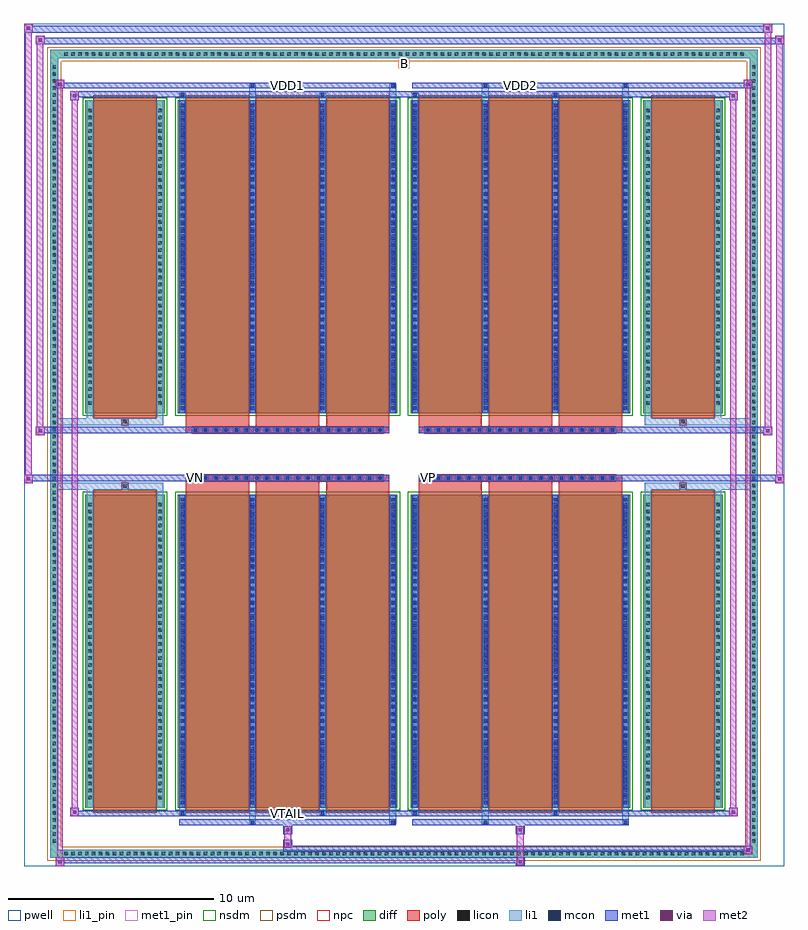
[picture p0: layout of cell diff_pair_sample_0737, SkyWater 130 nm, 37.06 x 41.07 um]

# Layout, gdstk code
import gdstk
lib = gdstk.Library(unit=1e-6, precision=5e-09)
def R(c, l, rs):  # rectangles x0, y0, x1, y1
    for r in rs: c.add(gdstk.rectangle(r[:2], r[2:], *l))
def A(c, l, x, y, w, h, nx, ny, dx, dy):  # array of equal rectangles
    R(c, l, [(x+i*dx, y+j*dy, x+i*dx+w, y+j*dy+h) for i in range(nx) for j in range(ny)])
def P(c, l, *ps):  # polygons
    for p in ps: c.add(gdstk.Polygon(p, *l))
pwell = (64, 44)
diff = (65, 20)
poly = (66, 20)
licon = (66, 44)
li1_pin = (67, 16)
li1 = (67, 20)
mcon = (67, 44)
met1_pin = (68, 16)
met1 = (68, 20)
via = (68, 44)
met2 = (69, 20)
nsdm = (93, 44)
psdm = (94, 20)
npc = (95, 20)

diff_pair_sample_0737 = lib.new_cell('diff_pair_sample_0737')
R(diff_pair_sample_0737, pwell, [(-18.53,-20.1,18.53,20.97), (-15.85,-18.29,-0.01,-0.805), (0.01,-18.29,15.85,-0.805), (-15.85,0.805,-0.01,18.29), (0.01,0.805,15.85,18.29)])
A(diff_pair_sample_0737, diff, -16.695, -19.7, 0.41, 0.41, 98, 2, 0.34, 38.99)
A(diff_pair_sample_0737, diff, -17.26, -19.075, 0.41, 0.41, 1, 112, 0, 0.34)
A(diff_pair_sample_0737, diff, 16.85, -19.075, 0.41, 0.41, 1, 112, 0, 0.34)
R(diff_pair_sample_0737, diff, [(-16.695,-19.7,16.695,-19.29), (-17.26,-19.075,-16.85,19.075), (16.85,-19.075,17.26,19.075), (-15.54,-17.245,-11.67,-1.985), (-11.03,-17.245,-0.32,-1.985), (0.32,-17.245,11.03,-1.985), (11.67,-17.245,15.54,-1.985), (-15.54,1.985,-11.67,17.245), (-11.03,1.985,-0.32,17.245), (0.32,1.985,11.03,17.245), (11.67,1.985,15.54,17.245), (-16.695,19.29,16.695,19.7)])
P(diff_pair_sample_0737, diff, [(17.26,19.7),(-17.26,19.7),(-17.26,-19.29),(-16.85,-19.29),(-16.85,19.29),(16.85,19.29),(16.85,-19.29),(-16.85,-19.29),(-17.26,-19.29),(-17.26,-19.7),(17.26,-19.7)])
A(diff_pair_sample_0737, poly, -10.64, -17.495, 3.09, 15.76, 3, 2, 3.42, 19.23)
A(diff_pair_sample_0737, poly, 0.71, -17.495, 3.09, 15.76, 3, 2, 3.42, 19.23)
A(diff_pair_sample_0737, poly, -10.64, -1.735, 3.09, 0.4, 3, 2, 3.42, 3.07)
A(diff_pair_sample_0737, poly, 0.71, -1.735, 3.09, 0.4, 3, 2, 3.42, 3.07)
A(diff_pair_sample_0737, poly, -10.34, -1.335, 0.33, 0.33, 19, 2, 0.5, 2.34)
A(diff_pair_sample_0737, poly, 1.01, -1.335, 0.33, 0.33, 19, 2, 0.5, 2.34)
R(diff_pair_sample_0737, poly, [(-15.15,-17.495,-12.06,-1.735), (12.06,-17.495,15.15,-1.735), (-13.77,-1.735,-13.44,-1.405), (-13.77,-1.735,-13.44,-1.405), (13.44,-1.735,13.77,-1.405), (13.44,-1.735,13.77,-1.405), (-10.64,-1.335,-0.71,-1.005), (0.71,-1.335,10.64,-1.005), (-10.64,1.005,-0.71,1.335), (0.71,1.005,10.64,1.335), (-13.77,1.405,-13.44,1.735), (-13.77,1.405,-13.44,1.735), (13.44,1.405,13.77,1.735), (13.44,1.405,13.77,1.735), (-15.15,1.735,-12.06,17.495), (12.06,1.735,15.15,17.495)])
A(diff_pair_sample_0737, licon, -16.575, -19.58, 0.17, 0.17, 98, 2, 0.34, 38.99)
A(diff_pair_sample_0737, licon, -17.14, -18.955, 0.17, 0.17, 1, 112, 0, 0.34)
A(diff_pair_sample_0737, licon, 16.97, -18.955, 0.17, 0.17, 1, 112, 0, 0.34)
A(diff_pair_sample_0737, licon, -15.4, -16.84, 0.17, 0.17, 1, 43, 0, 0.34)
A(diff_pair_sample_0737, licon, -11.98, -16.84, 0.17, 0.17, 1, 43, 0, 0.34)
A(diff_pair_sample_0737, licon, -10.89, -16.84, 0.17, 0.17, 4, 43, 3.42, 0.34)
A(diff_pair_sample_0737, licon, 0.46, -16.84, 0.17, 0.17, 4, 43, 3.42, 0.34)
A(diff_pair_sample_0737, licon, 11.81, -16.84, 0.17, 0.17, 1, 43, 0, 0.34)
A(diff_pair_sample_0737, licon, 15.23, -16.84, 0.17, 0.17, 1, 43, 0, 0.34)
A(diff_pair_sample_0737, licon, -10.26, -1.255, 0.17, 0.17, 19, 2, 0.5, 2.34)
A(diff_pair_sample_0737, licon, 1.09, -1.255, 0.17, 0.17, 19, 2, 0.5, 2.34)
A(diff_pair_sample_0737, licon, -15.4, 2.39, 0.17, 0.17, 1, 43, 0, 0.34)
A(diff_pair_sample_0737, licon, -11.98, 2.39, 0.17, 0.17, 1, 43, 0, 0.34)
A(diff_pair_sample_0737, licon, -10.89, 2.39, 0.17, 0.17, 4, 43, 3.42, 0.34)
A(diff_pair_sample_0737, licon, 0.46, 2.39, 0.17, 0.17, 4, 43, 3.42, 0.34)
A(diff_pair_sample_0737, licon, 11.81, 2.39, 0.17, 0.17, 1, 43, 0, 0.34)
A(diff_pair_sample_0737, licon, 15.23, 2.39, 0.17, 0.17, 1, 43, 0, 0.34)
R(diff_pair_sample_0737, licon, [(-13.69,-1.655,-13.52,-1.485), (13.52,-1.655,13.69,-1.485), (-13.69,1.485,-13.52,1.655), (13.52,1.485,13.69,1.655)])
R(diff_pair_sample_0737, li1_pin, [(-0.25,18.79,0.25,19.29)])
A(diff_pair_sample_0737, li1, -16.655, -19.66, 0.33, 0.33, 98, 2, 0.34, 38.99)
A(diff_pair_sample_0737, li1, -17.22, -19.035, 0.33, 0.33, 1, 112, 0, 0.34)
A(diff_pair_sample_0737, li1, 16.89, -19.035, 0.33, 0.33, 1, 112, 0, 0.34)
A(diff_pair_sample_0737, li1, -10.97, -17.245, 0.33, 15.26, 4, 2, 3.42, 19.23)
A(diff_pair_sample_0737, li1, 0.38, -17.245, 0.33, 15.26, 4, 2, 3.42, 19.23)
A(diff_pair_sample_0737, li1, -10.89, -17.08, 0.17, 0.17, 4, 42, 3.42, 0.36)
A(diff_pair_sample_0737, li1, -10.89, -17.08, 0.17, 14.93, 4, 2, 3.42, 19.23)
A(diff_pair_sample_0737, li1, 0.46, -17.08, 0.17, 0.17, 4, 42, 3.42, 0.36)
A(diff_pair_sample_0737, li1, 0.46, -17.08, 0.17, 14.93, 4, 2, 3.42, 19.23)
A(diff_pair_sample_0737, li1, -15.48, -16.92, 0.33, 0.33, 1, 43, 0, 0.34)
A(diff_pair_sample_0737, li1, -12.06, -16.92, 0.33, 0.33, 1, 43, 0, 0.34)
A(diff_pair_sample_0737, li1, -10.97, -16.92, 0.33, 0.33, 4, 43, 3.42, 0.34)
A(diff_pair_sample_0737, li1, 0.38, -16.92, 0.33, 0.33, 4, 43, 3.42, 0.34)
A(diff_pair_sample_0737, li1, 11.73, -16.92, 0.33, 0.33, 1, 43, 0, 0.34)
A(diff_pair_sample_0737, li1, 15.15, -16.92, 0.33, 0.33, 1, 43, 0, 0.34)
A(diff_pair_sample_0737, li1, -10.34, -1.335, 0.33, 0.33, 19, 2, 0.5, 2.34)
A(diff_pair_sample_0737, li1, 1.01, -1.335, 0.33, 0.33, 19, 2, 0.5, 2.34)
A(diff_pair_sample_0737, li1, -10.89, 2.15, 0.17, 0.17, 4, 42, 3.42, 0.36)
A(diff_pair_sample_0737, li1, 0.46, 2.15, 0.17, 0.17, 4, 42, 3.42, 0.36)
A(diff_pair_sample_0737, li1, -15.48, 2.31, 0.33, 0.33, 1, 43, 0, 0.34)
A(diff_pair_sample_0737, li1, -12.06, 2.31, 0.33, 0.33, 1, 43, 0, 0.34)
A(diff_pair_sample_0737, li1, -10.97, 2.31, 0.33, 0.33, 4, 43, 3.42, 0.34)
A(diff_pair_sample_0737, li1, 0.38, 2.31, 0.33, 0.33, 4, 43, 3.42, 0.34)
A(diff_pair_sample_0737, li1, 11.73, 2.31, 0.33, 0.33, 1, 43, 0, 0.34)
A(diff_pair_sample_0737, li1, 15.15, 2.31, 0.33, 0.33, 1, 43, 0, 0.34)
R(diff_pair_sample_0737, li1, [(-17.26,-19.7,-16.85,-19.29), (-17.26,-19.7,-16.85,-19.29), (-16.85,-19.7,16.85,-19.29), (16.85,-19.7,17.26,-19.29), (16.85,-19.7,17.26,-19.29), (-17.26,-19.29,-16.85,19.29), (16.85,-19.29,17.26,19.29), (-7.55,-18.05,-7.22,-17.245), (-7.47,-18.05,-7.3,-17.88), (-0.71,-18.05,-0.38,-17.245), (-0.63,-18.05,-0.46,-17.88), (3.8,-18.05,4.13,-17.245), (3.88,-18.05,4.05,-17.88), (10.64,-18.05,10.97,-17.245), (10.72,-18.05,10.89,-17.88), (-10.97,-17.62,-10.64,-17.245), (-10.89,-17.62,-10.72,-17.45), (-4.13,-17.62,-3.8,-17.245), (-4.05,-17.62,-3.88,-17.45), (0.38,-17.62,0.71,-17.245), (0.46,-17.62,0.63,-17.45), (7.22,-17.62,7.55,-17.245), (7.3,-17.62,7.47,-17.45), (-15.48,-17.245,-15.15,-1.985), (-12.06,-17.245,-11.73,-1.985), (11.73,-17.245,12.06,-1.985), (15.15,-17.245,15.48,-1.985), (-15.48,-1.985,-15.15,-1.405), (-12.06,-1.985,-11.73,-1.405), (11.73,-1.985,12.06,-1.405), (15.15,-1.985,15.48,-1.405), (-17.26,-1.735,-13.77,-1.405), (-15.48,-1.735,-13.77,-1.405), (-13.77,-1.735,-13.44,-1.405), (-13.44,-1.735,-11.73,-1.405), (11.73,-1.735,13.44,-1.405), (13.44,-1.735,13.77,-1.405), (13.44,-1.735,17.26,-1.405), (13.77,-1.735,15.48,-1.405), (-17.26,1.405,-13.77,1.735), (-15.48,1.405,-13.77,1.735), (-15.48,1.405,-15.15,1.985), (-13.77,1.405,-13.44,1.735), (-13.44,1.405,-11.73,1.735), (-12.06,1.405,-11.73,1.985), (11.73,1.405,13.44,1.735), (11.73,1.405,12.06,1.985), (13.44,1.405,13.77,1.735), (13.44,1.405,17.26,1.735), (13.77,1.405,15.48,1.735), (15.15,1.405,15.48,1.985), (-15.48,1.985,-15.15,17.245), (-12.06,1.985,-11.73,17.245), (11.73,1.985,12.06,17.245), (15.15,1.985,15.48,17.245), (-10.97,17.245,-10.64,17.62), (-7.55,17.245,-7.22,18.05), (-4.13,17.245,-3.8,17.62), (-0.71,17.245,-0.38,18.05), (0.38,17.245,0.71,17.62), (3.8,17.245,4.13,18.05), (7.22,17.245,7.55,17.62), (10.64,17.245,10.97,18.05), (-10.89,17.45,-10.72,17.62), (-4.05,17.45,-3.88,17.62), (0.46,17.45,0.63,17.62), (7.3,17.45,7.47,17.62), (-7.47,17.88,-7.3,18.05), (-0.63,17.88,-0.46,18.05), (3.88,17.88,4.05,18.05), (10.72,17.88,10.89,18.05), (-17.26,19.29,-16.85,19.7), (-17.26,19.29,-16.85,19.7), (-16.85,19.29,16.85,19.7), (16.85,19.29,17.26,19.7), (16.85,19.29,17.26,19.7)])
A(diff_pair_sample_0737, mcon, -10.89, -17.08, 0.17, 0.17, 4, 42, 3.42, 0.36)
A(diff_pair_sample_0737, mcon, 0.46, -17.08, 0.17, 0.17, 4, 42, 3.42, 0.36)
A(diff_pair_sample_0737, mcon, -10.26, -1.255, 0.17, 0.17, 19, 2, 0.5, 2.34)
A(diff_pair_sample_0737, mcon, 1.09, -1.255, 0.17, 0.17, 19, 2, 0.5, 2.34)
A(diff_pair_sample_0737, mcon, -10.89, 2.15, 0.17, 0.17, 4, 42, 3.42, 0.36)
A(diff_pair_sample_0737, mcon, 0.46, 2.15, 0.17, 0.17, 4, 42, 3.42, 0.36)
R(diff_pair_sample_0737, mcon, [(-7.47,-18.05,-7.3,-17.88), (-0.63,-18.05,-0.46,-17.88), (3.88,-18.05,4.05,-17.88), (10.72,-18.05,10.89,-17.88), (-10.89,-17.62,-10.72,-17.45), (-4.05,-17.62,-3.88,-17.45), (0.46,-17.62,0.63,-17.45), (7.3,-17.62,7.47,-17.45), (-10.89,17.45,-10.72,17.62), (-4.05,17.45,-3.88,17.62), (0.46,17.45,0.63,17.62), (7.3,17.45,7.47,17.62), (-7.47,17.88,-7.3,18.05), (-0.63,17.88,-0.46,18.05), (3.88,17.88,4.05,18.05), (10.72,17.88,10.89,18.05)])
R(diff_pair_sample_0737, met1_pin, [(-5.81,-17.66,-5.54,-17.39), (-10.31,-1.295,-10.04,-1.025), (1.04,-1.295,1.31,-1.025), (-5.81,17.84,-5.54,18.11), (5.54,17.84,5.81,18.11)])
A(diff_pair_sample_0737, met1, -10.95, -17.245, 0.29, 15.26, 4, 2, 3.42, 19.23)
A(diff_pair_sample_0737, met1, 0.4, -17.245, 0.29, 15.26, 4, 2, 3.42, 19.23)
A(diff_pair_sample_0737, met1, -10.95, -17.14, 0.29, 0.29, 4, 42, 3.42, 0.36)
A(diff_pair_sample_0737, met1, 0.4, -17.14, 0.29, 0.29, 4, 42, 3.42, 0.36)
A(diff_pair_sample_0737, met1, -10.32, -1.315, 0.29, 0.29, 19, 2, 0.5, 2.34)
A(diff_pair_sample_0737, met1, 1.03, -1.315, 0.29, 0.29, 19, 2, 0.5, 2.34)
A(diff_pair_sample_0737, met1, -10.95, 2.09, 0.29, 0.29, 4, 42, 3.42, 0.36)
A(diff_pair_sample_0737, met1, 0.4, 2.09, 0.29, 0.29, 4, 42, 3.42, 0.36)
R(diff_pair_sample_0737, met1, [(-16.99,-20.1,-16.56,-19.67), (5.46,-20.1,5.89,-19.67), (-16.99,-19.96,5.89,-19.67), (16.56,-19.53,16.99,-19.1), (-5.89,-19.39,16.99,-19.1), (-5.89,-19.25,-5.46,-18.82), (-5.89,-18.54,-5.46,-18.11), (5.46,-18.54,5.89,-18.11), (-10.95,-18.11,-0.4,-17.82), (-7.53,-18.11,-7.24,-17.82), (-0.69,-18.11,-0.4,-17.82), (0.4,-18.11,10.95,-17.82), (3.82,-18.11,4.11,-17.82), (10.66,-18.11,10.95,-17.82), (-16.28,-17.68,-15.85,-17.25), (-16.28,-17.68,-10.95,-17.39), (-10.95,-17.68,-10.66,-17.39), (-10.95,-17.68,-0.4,-17.39), (-4.11,-17.68,-3.82,-17.39), (-0.4,-17.68,0.4,-17.39), (0.4,-17.68,0.69,-17.39), (0.4,-17.68,10.95,-17.39), (7.24,-17.68,7.53,-17.39), (10.95,-17.68,16.28,-17.39), (15.85,-17.68,16.28,-17.25), (-18.53,-1.435,-18.1,-1.005), (18.1,-1.435,18.53,-1.005), (-18.53,-1.335,-0.71,-1.005), (-10.64,-1.335,-0.71,-1.005), (0.71,-1.335,10.64,-1.005), (0.71,-1.335,18.53,-1.005), (-17.96,0.905,-17.53,1.335), (17.53,0.905,17.96,1.335), (-17.96,1.005,-10.64,1.335), (-10.64,1.005,-0.71,1.335), (0.71,1.005,10.64,1.335), (10.64,1.005,17.96,1.335), (-16.28,17.25,-15.85,17.68), (15.85,17.25,16.28,17.68), (-16.28,17.39,-10.95,17.68), (-10.95,17.39,-10.66,17.68), (-10.95,17.39,-0.4,17.68), (-4.11,17.39,-3.82,17.68), (-0.4,17.39,0.4,17.68), (0.4,17.39,0.69,17.68), (0.4,17.39,10.95,17.68), (7.24,17.39,7.53,17.68), (10.95,17.39,16.28,17.68), (-16.99,17.82,-16.56,18.25), (-16.99,17.82,-10.95,18.11), (-10.95,17.82,-0.4,18.11), (-7.53,17.82,-7.24,18.11), (-0.69,17.82,-0.4,18.11), (0.4,17.82,10.95,18.11), (3.82,17.82,4.11,18.11), (10.66,17.82,10.95,18.11), (10.95,17.82,16.99,18.11), (16.56,17.82,16.99,18.25), (-17.96,19.97,-17.53,20.4), (-17.96,19.97,-15.85,20.3), (-15.85,19.97,15.85,20.3), (15.85,19.97,18.53,20.3), (18.1,19.97,18.53,20.4), (-18.53,20.54,-18.1,20.97), (-18.53,20.54,-15.85,20.87), (-15.85,20.54,15.85,20.87), (15.85,20.54,17.96,20.87), (17.53,20.54,17.96,20.97)])
R(diff_pair_sample_0737, via, [(-16.85,-19.96,-16.7,-19.81), (5.6,-19.96,5.75,-19.81), (16.7,-19.39,16.85,-19.24), (-5.75,-19.11,-5.6,-18.96), (-5.75,-18.4,-5.6,-18.25), (5.6,-18.4,5.75,-18.25), (-16.14,-17.54,-15.99,-17.39), (15.99,-17.54,16.14,-17.39), (-18.39,-1.295,-18.24,-1.145), (18.24,-1.295,18.39,-1.145), (-17.82,1.045,-17.67,1.195), (17.67,1.045,17.82,1.195), (-16.14,17.39,-15.99,17.54), (15.99,17.39,16.14,17.54), (-16.85,17.96,-16.7,18.11), (16.7,17.96,16.85,18.11), (-17.82,20.11,-17.67,20.26), (18.24,20.11,18.39,20.26), (-18.39,20.68,-18.24,20.83), (17.67,20.68,17.82,20.83)])
R(diff_pair_sample_0737, met2, [(-16.99,-20.1,-16.56,-19.67), (-16.92,-20.1,-16.63,18.25), (-16.63,-20.1,-16.56,-19.67), (-16.94,-20.05,-16.61,-19.72), (5.51,-20.05,5.84,-19.72), (5.51,-19.72,5.84,-18.49), (16.56,-19.53,16.99,-19.1), (16.63,-19.53,16.92,18.25), (16.92,-19.53,16.99,-19.1), (16.61,-19.48,16.94,-19.15), (-5.84,-19.2,-5.51,-18.87), (-5.84,-18.87,-5.51,-18.49), (-5.84,-18.49,-5.51,-18.16), (5.51,-18.49,5.84,-18.16), (-16.28,-17.68,-15.85,-17.25), (-16.21,-17.68,-15.92,17.68), (-15.92,-17.68,-15.85,-17.25), (15.85,-17.68,16.28,-17.25), (15.92,-17.68,16.21,17.68), (16.21,-17.68,16.28,-17.25), (-16.23,-17.63,-15.9,-17.3), (15.9,-17.63,16.23,-17.3), (-18.53,-1.435,-18.1,-1.005), (-18.48,-1.435,-18.15,20.97), (-18.15,-1.435,-18.1,-1.005), (18.1,-1.435,18.53,-1.005), (18.15,-1.435,18.48,20.4), (18.48,-1.435,18.53,-1.005), (-18.48,-1.385,-18.15,-1.055), (18.15,-1.385,18.48,-1.055), (-17.96,0.905,-17.53,1.335), (-17.91,0.905,-17.58,20.4), (-17.58,0.905,-17.53,1.335), (17.53,0.905,17.96,1.335), (17.58,0.905,17.91,20.97), (17.91,0.905,17.96,1.335), (-17.91,0.955,-17.58,1.285), (17.58,0.955,17.91,1.285), (-16.28,17.25,-15.85,17.68), (-15.92,17.25,-15.85,17.68), (15.85,17.25,16.28,17.68), (16.21,17.25,16.28,17.68), (-16.23,17.3,-15.9,17.63), (15.9,17.3,16.23,17.63), (-16.99,17.82,-16.56,18.25), (-16.63,17.82,-16.56,18.25), (16.56,17.82,16.99,18.25), (16.92,17.82,16.99,18.25), (-16.94,17.87,-16.61,18.2), (16.61,17.87,16.94,18.2), (-17.96,19.97,-17.53,20.4), (-17.58,19.97,-17.53,20.4), (18.1,19.97,18.53,20.4), (18.48,19.97,18.53,20.4), (-17.91,20.02,-17.58,20.35), (18.15,20.02,18.48,20.35), (-18.53,20.54,-18.1,20.97), (-18.15,20.54,-18.1,20.97), (17.53,20.54,17.96,20.97), (17.91,20.54,17.96,20.97), (-18.48,20.59,-18.15,20.92), (17.58,20.59,17.91,20.92)])
R(diff_pair_sample_0737, nsdm, [(-15.67,-17.375,-11.54,-1.855), (-11.16,-17.375,-0.19,-1.855), (0.19,-17.375,11.16,-1.855), (11.54,-17.375,15.67,-1.855), (-15.67,1.855,-11.54,17.375), (-11.16,1.855,-0.19,17.375), (0.19,1.855,11.16,17.375), (11.54,1.855,15.67,17.375)])
P(diff_pair_sample_0737, psdm, [(17.39,19.83),(-17.39,19.83),(-17.39,-19.16),(-16.72,-19.16),(-16.72,19.16),(16.72,19.16),(16.72,-19.16),(-16.72,-19.16),(-17.39,-19.16),(-17.39,-19.83),(17.39,-19.83)])
A(diff_pair_sample_0737, npc, -10.36, -1.355, 0.37, 0.37, 19, 2, 0.5, 2.34)
A(diff_pair_sample_0737, npc, 0.99, -1.355, 0.37, 0.37, 19, 2, 0.5, 2.34)
R(diff_pair_sample_0737, npc, [(-13.79,-1.755,-13.42,-1.385), (13.42,-1.755,13.79,-1.385), (-10.36,-1.355,-9.49,-0.985), (-10.36,-1.355,-9.49,-0.985), (-9.86,-1.355,-8.99,-0.985), (-9.86,-1.355,-8.99,-0.985), (-9.36,-1.355,-8.49,-0.985), (-9.36,-1.355,-8.49,-0.985), (-8.86,-1.355,-7.99,-0.985), (-8.86,-1.355,-7.99,-0.985), (-8.36,-1.355,-7.49,-0.985), (-8.36,-1.355,-7.49,-0.985), (-7.86,-1.355,-6.99,-0.985), (-7.86,-1.355,-6.99,-0.985), (-7.36,-1.355,-6.49,-0.985), (-7.36,-1.355,-6.49,-0.985), (-6.86,-1.355,-5.99,-0.985), (-6.86,-1.355,-5.99,-0.985), (-6.36,-1.355,-5.49,-0.985), (-6.36,-1.355,-5.49,-0.985), (-5.86,-1.355,-4.99,-0.985), (-5.86,-1.355,-4.99,-0.985), (-5.36,-1.355,-4.49,-0.985), (-5.36,-1.355,-4.49,-0.985), (-4.86,-1.355,-3.99,-0.985), (-4.86,-1.355,-3.99,-0.985), (-4.36,-1.355,-3.49,-0.985), (-4.36,-1.355,-3.49,-0.985), (-3.86,-1.355,-2.99,-0.985), (-3.86,-1.355,-2.99,-0.985), (-3.36,-1.355,-2.49,-0.985), (-3.36,-1.355,-2.49,-0.985), (-2.86,-1.355,-1.99,-0.985), (-2.86,-1.355,-1.99,-0.985), (-2.36,-1.355,-1.49,-0.985), (-2.36,-1.355,-1.49,-0.985), (-1.86,-1.355,-0.99,-0.985), (-1.86,-1.355,-0.99,-0.985), (0.99,-1.355,1.86,-0.985), (0.99,-1.355,1.86,-0.985), (1.49,-1.355,2.36,-0.985), (1.49,-1.355,2.36,-0.985), (1.99,-1.355,2.86,-0.985), (1.99,-1.355,2.86,-0.985), (2.49,-1.355,3.36,-0.985), (2.49,-1.355,3.36,-0.985), (2.99,-1.355,3.86,-0.985), (2.99,-1.355,3.86,-0.985), (3.49,-1.355,4.36,-0.985), (3.49,-1.355,4.36,-0.985), (3.99,-1.355,4.86,-0.985), (3.99,-1.355,4.86,-0.985), (4.49,-1.355,5.36,-0.985), (4.49,-1.355,5.36,-0.985), (4.99,-1.355,5.86,-0.985), (4.99,-1.355,5.86,-0.985), (5.49,-1.355,6.36,-0.985), (5.49,-1.355,6.36,-0.985), (5.99,-1.355,6.86,-0.985), (5.99,-1.355,6.86,-0.985), (6.49,-1.355,7.36,-0.985), (6.49,-1.355,7.36,-0.985), (6.99,-1.355,7.86,-0.985), (6.99,-1.355,7.86,-0.985), (7.49,-1.355,8.36,-0.985), (7.49,-1.355,8.36,-0.985), (7.99,-1.355,8.86,-0.985), (7.99,-1.355,8.86,-0.985), (8.49,-1.355,9.36,-0.985), (8.49,-1.355,9.36,-0.985), (8.99,-1.355,9.86,-0.985), (8.99,-1.355,9.86,-0.985), (9.49,-1.355,10.36,-0.985), (9.49,-1.355,10.36,-0.985), (-10.36,0.985,-9.49,1.355), (-10.36,0.985,-9.49,1.355), (-9.86,0.985,-8.99,1.355), (-9.86,0.985,-8.99,1.355), (-9.36,0.985,-8.49,1.355), (-9.36,0.985,-8.49,1.355), (-8.86,0.985,-7.99,1.355), (-8.86,0.985,-7.99,1.355), (-8.36,0.985,-7.49,1.355), (-8.36,0.985,-7.49,1.355), (-7.86,0.985,-6.99,1.355), (-7.86,0.985,-6.99,1.355), (-7.36,0.985,-6.49,1.355), (-7.36,0.985,-6.49,1.355), (-6.86,0.985,-5.99,1.355), (-6.86,0.985,-5.99,1.355), (-6.36,0.985,-5.49,1.355), (-6.36,0.985,-5.49,1.355), (-5.86,0.985,-4.99,1.355), (-5.86,0.985,-4.99,1.355), (-5.36,0.985,-4.49,1.355), (-5.36,0.985,-4.49,1.355), (-4.86,0.985,-3.99,1.355), (-4.86,0.985,-3.99,1.355), (-4.36,0.985,-3.49,1.355), (-4.36,0.985,-3.49,1.355), (-3.86,0.985,-2.99,1.355), (-3.86,0.985,-2.99,1.355), (-3.36,0.985,-2.49,1.355), (-3.36,0.985,-2.49,1.355), (-2.86,0.985,-1.99,1.355), (-2.86,0.985,-1.99,1.355), (-2.36,0.985,-1.49,1.355), (-2.36,0.985,-1.49,1.355), (-1.86,0.985,-0.99,1.355), (-1.86,0.985,-0.99,1.355), (0.99,0.985,1.86,1.355), (0.99,0.985,1.86,1.355), (1.49,0.985,2.36,1.355), (1.49,0.985,2.36,1.355), (1.99,0.985,2.86,1.355), (1.99,0.985,2.86,1.355), (2.49,0.985,3.36,1.355), (2.49,0.985,3.36,1.355), (2.99,0.985,3.86,1.355), (2.99,0.985,3.86,1.355), (3.49,0.985,4.36,1.355), (3.49,0.985,4.36,1.355), (3.99,0.985,4.86,1.355), (3.99,0.985,4.86,1.355), (4.49,0.985,5.36,1.355), (4.49,0.985,5.36,1.355), (4.99,0.985,5.86,1.355), (4.99,0.985,5.86,1.355), (5.49,0.985,6.36,1.355), (5.49,0.985,6.36,1.355), (5.99,0.985,6.86,1.355), (5.99,0.985,6.86,1.355), (6.49,0.985,7.36,1.355), (6.49,0.985,7.36,1.355), (6.99,0.985,7.86,1.355), (6.99,0.985,7.86,1.355), (7.49,0.985,8.36,1.355), (7.49,0.985,8.36,1.355), (7.99,0.985,8.86,1.355), (7.99,0.985,8.86,1.355), (8.49,0.985,9.36,1.355), (8.49,0.985,9.36,1.355), (8.99,0.985,9.86,1.355), (8.99,0.985,9.86,1.355), (9.49,0.985,10.36,1.355), (9.49,0.985,10.36,1.355), (-13.79,1.385,-13.42,1.755), (13.42,1.385,13.79,1.755)])
diff_pair_sample_0737.add(gdstk.Label('VTAIL', (-5.675,-17.525), layer=68, texttype=5))
diff_pair_sample_0737.add(gdstk.Label('VN', (-10.175,-1.16), layer=68, texttype=5))
diff_pair_sample_0737.add(gdstk.Label('VP', (1.175,-1.16), layer=68, texttype=5))
diff_pair_sample_0737.add(gdstk.Label('B', (0,19.04), layer=67, texttype=5))
diff_pair_sample_0737.add(gdstk.Label('VDD2', (5.675,17.975), layer=68, texttype=5))
diff_pair_sample_0737.add(gdstk.Label('VDD1', (-5.675,17.975), layer=68, texttype=5))

lib.write_gds('diff_pair_sample_0737.gds')
